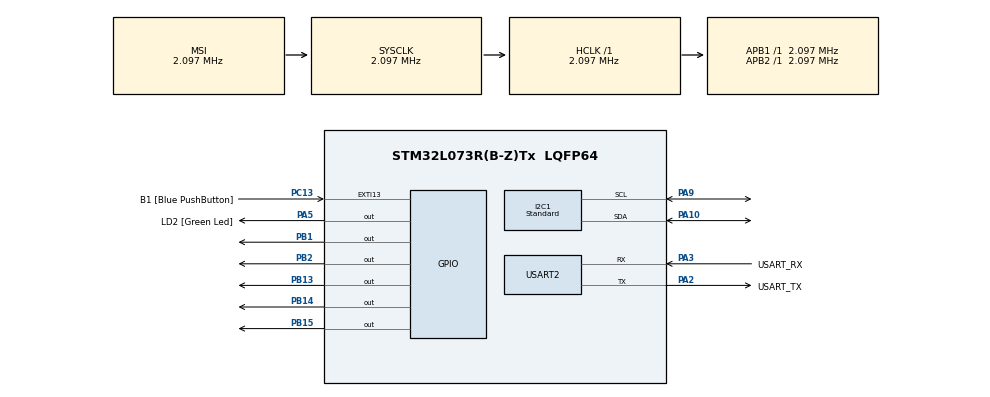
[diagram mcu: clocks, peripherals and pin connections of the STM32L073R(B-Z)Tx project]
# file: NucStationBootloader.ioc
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I2C1.I2C_Speed_Mode=I2C_Standard
I2C1.Timing=0x00000708
Mcu.Family=STM32L0
Mcu.Name=STM32L073R(B-Z)Tx
Mcu.Package=LQFP64
PA10.Mode=I2C
PA10.Signal=I2C1_SDA
PA13.GPIO_Label=TMS
PA13.Mode=Serial_Wire
PA13.Signal=SYS_SWDIO
PA14.GPIO_Label=TCK
PA14.Mode=Serial_Wire
PA14.Signal=SYS_SWCLK
PA2.GPIO_Label=USART_TX
PA2.Mode=Asynchronous
PA2.Signal=USART2_TX
PA3.GPIO_Label=USART_RX
PA3.Mode=Asynchronous
PA3.Signal=USART2_RX
PA5.GPIO_Label=LD2 [Green Led]
PA5.Signal=GPIO_Output
PA9.Mode=I2C
PA9.Signal=I2C1_SCL
PB1.Signal=GPIO_Output
PB13.Signal=GPIO_Output
PB14.Signal=GPIO_Output
PB15.Signal=GPIO_Output
PB2.Signal=GPIO_Output
PC13.GPIO_Label=B1 [Blue PushButton]
PC13.GPIO_ModeDefaultEXTI=GPIO_MODE_IT_FALLING
PC13.Signal=GPXTI13
PC14-OSC32_IN.Mode=LSE-External-Oscillator
PC14-OSC32_IN.Signal=RCC_OSC32_IN
PC15-OSC32_OUT.Mode=LSE-External-Oscillator
PC15-OSC32_OUT.Signal=RCC_OSC32_OUT
PH0-OSC_IN.GPIO_Label=MCO
PH0-OSC_IN.Mode=HSE-External-Clock-Source
PH0-OSC_IN.Signal=RCC_OSC_IN
ProjectManager.HeapSize=0x200
ProjectManager.StackSize=0x400
ProjectManager.TargetToolchain=STM32CubeIDE
RCC.AHBFreq_Value=2097000
RCC.APB1Freq_Value=2097000
RCC.APB1TimFreq_Value=2097000
RCC.APB2Freq_Value=2097000
RCC.APB2TimFreq_Value=2097000
RCC.HSE_VALUE=8000000
RCC.HSI16_VALUE=16000000
RCC.HSI48_VALUE=48000000
RCC.HSI_VALUE=16000000
RCC.MSI_VALUE=2097000
RCC.SYSCLKFreq_VALUE=2097000
RCC.VCOOutputFreq_Value=48000000
USART2.VirtualMode-Asynchronous=VM_ASYNC
board=NUCLEO-L073RZ

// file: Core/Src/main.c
/* USER CODE BEGIN Header */
/**
  ******************************************************************************
  * @file           : main.c
  * @brief          : Main program body
  ******************************************************************************
  * @attention
  *
  * Copyright (c) 2022 STMicroelectronics.
  * All rights reserved.
  *
  * This software is licensed under terms that can be found in the LICENSE file
  * in the root directory of this software component.
  * If no LICENSE file comes with this software, it is provided AS-IS.
  *
  ******************************************************************************
  */
/* USER CODE END Header */
#include "main.h"

/* USER CODE BEGIN Includes */
#include "EEPROMHelper.h"
//#include "GameFlasher.h"

/* USER CODE END Includes */

 I2C_HandleTypeDef hi2c1;

UART_HandleTypeDef huart2;

void SystemClock_Config(void);
static void MX_GPIO_Init(void);
static void MX_USART2_UART_Init(void);
static void MX_I2C1_Init(void);
/* USER CODE BEGIN PFP */
static void LoadFirmware (void);
bool CheckArrayIsEnd(uint8_t *_buffer, uint8_t *compareTo, uint8_t *lastThree);
/* USER CODE END PFP */

/* USER CODE BEGIN 0 */
uint8_t dataWrite[16];

/* USER CODE END 0 */

int main(void)
{

  /* MCU Configuration--------------------------------------------------------*/

  /* Reset of all peripherals, Initializes the Flash interface and the Systick. */
  HAL_Init();

  /* Configure the system clock */
  SystemClock_Config();

  /* Initialize all configured peripherals */
  MX_GPIO_Init();
  MX_USART2_UART_Init();
  MX_I2C1_Init();
  /* USER CODE BEGIN 2 */

  const unsigned char nucStationLogo [] = {
		  	0xff, 0xff, 0xf0, 0x1f, 0xff, 0xff, 0xff, 0xff, 0x82, 0x03, 0xff, 0xff, 0xff, 0xfc, 0x07, 0x87,
			0xff, 0xff, 0xff, 0xf8, 0x0f, 0xcf, 0xff, 0xff, 0xff, 0xe0, 0x0f, 0xcf, 0xef, 0xff, 0xff, 0xc0,
			0x0f, 0xcf, 0xe7, 0xff, 0xff, 0x80, 0x0f, 0x8f, 0xe3, 0xff, 0xff, 0x80, 0x0c, 0x0c, 0x63, 0xff,
			0xff, 0x00, 0x00, 0x00, 0x11, 0xff, 0xfe, 0x00, 0x41, 0xe0, 0x0f, 0xff, 0xfe, 0x07, 0xc7, 0xc7,
			0x8f, 0xff, 0xfc, 0x0f, 0xcf, 0xc7, 0xcf, 0xff, 0xfc, 0x0f, 0xcf, 0xcf, 0xcf, 0xff, 0xf8, 0x0f,
			0xcf, 0xcf, 0xcf, 0xff, 0xf8, 0x0f, 0xc7, 0x8f, 0xcf, 0xff, 0xf8, 0x03, 0xc3, 0x0f, 0x8f, 0xbf,
			0xf8, 0x00, 0x00, 0x10, 0x00, 0x3f, 0xf8, 0x00, 0x10, 0x20, 0x20, 0x3f, 0xf8, 0x00, 0x0f, 0xc3,
			0xe0, 0x3f, 0xf8, 0x00, 0x0f, 0xc7, 0xe0, 0x3f, 0xf8, 0x00, 0x0f, 0xcf, 0xe0, 0x3f, 0xf8, 0x00,
			0x0f, 0xcf, 0xe0, 0x3f, 0xf8, 0x00, 0x0f, 0xc7, 0xc0, 0x3f, 0xf8, 0x00, 0x07, 0x83, 0x80, 0x3f,
			0xf8, 0x00, 0x00, 0x00, 0x00, 0x3f, 0xf8, 0x2e, 0x20, 0x00, 0x00, 0x3f, 0xfc, 0x44, 0xa0, 0x00,
			0x00, 0x7f, 0xfc, 0x24, 0xa4, 0x00, 0x00, 0x7f, 0xfe, 0x54, 0x60, 0x00, 0x00, 0xff, 0xfe, 0x00,
			0x00, 0x00, 0x00, 0xff, 0xff, 0x00, 0x00, 0x00, 0x01, 0xff, 0xff, 0x80, 0xa0, 0x00, 0x03, 0xff,
			0xff, 0xc0, 0xe1, 0x9a, 0x03, 0xff, 0xff, 0xe0, 0xa4, 0x49, 0x0f, 0xff, 0xff, 0xf0, 0xa4, 0xc1,
			0x1f, 0xff, 0xff, 0xf8, 0x00, 0x00, 0x3f, 0xff, 0xff, 0xfe, 0x00, 0x00, 0xff, 0xff, 0xff, 0xff,
			0xc0, 0x07, 0xff, 0xff, 0xff, 0xff, 0xff, 0xff, 0xff, 0xff, 0xff, 0xff, 0xff, 0xff, 0xff, 0xff,
			0xdd, 0xff, 0xf1, 0xbf, 0xb7, 0xff, 0xcd, 0xff, 0xee, 0xbf, 0xbf, 0xff, 0xcd, 0xb4, 0x6e, 0x11,
			0x14, 0x43, 0xd5, 0xb3, 0x63, 0xad, 0xb3, 0x9d, 0xd5, 0xb3, 0xfc, 0xbd, 0xb3, 0x9d, 0xd9, 0xb3,
			0xee, 0xa1, 0xb3, 0x9d, 0xd9, 0xb3, 0x6e, 0xad, 0xb3, 0x9d, 0xdd, 0x84, 0xf1, 0x80, 0x94, 0x5d
  };

  printf("Starting NucStation\r\n");
  HAL_GPIO_WritePin(GPIOA, GPIO_PIN_5, GPIO_PIN_SET); // to show we are in bootloader mode

  LCD_setRST(GPIOB, GPIO_PIN_13);
  LCD_setCE(GPIOB, GPIO_PIN_14);
  LCD_setDC(GPIOB, GPIO_PIN_15);
  LCD_setDIN(GPIOB, GPIO_PIN_1);
  LCD_setCLK(GPIOB, GPIO_PIN_2);
  LCD_init();

  LCD_draw(nucStationLogo, 18, 0, 48, 48);
  LCD_refreshScr();

  HAL_Delay(100);

  bool foundI2CFlag = false;
  uint8_t ret;

  printf("Scanning \r\n");
  for(uint8_t i = 1; i < 128; i++)
  {
      ret = HAL_I2C_IsDeviceReady(&hi2c1, (uint16_t)(i<<1), 3, 5);
      if (ret != HAL_OK) /* No ACK Received At That Address */
      {

    	 // printf("Device not found in 0x%X", i);
      }
      else if(ret == HAL_OK)
      {
          printf("Device found in 0x%X  \r\n", i);
          foundI2CFlag = true;
      }
  }
  printf("Scanning fin \r\n");

  if(foundI2CFlag)
  {
	  LCD_print("L", 0, 0);

	  char percentLoad[5] = {0};

	  uint8_t buffer[64] = {0};
	  uint8_t lastThree[3]  = {0, 0, 0};
	  uint8_t endCheckArray[3] = {'E', 'G', 'E'};

	  uint8_t wordCounter = 0;
	  uint8_t lastFour[4] = {0};
	  uint16_t sector = 0;
	  uint32_t lastFourWord[1] = {0};

	  uint8_t j = 0;

	  for(int i = 0; i < PAGE_NUM; i++)
	  {
		  EEPROM_Read(i, 0, buffer, 64);

		  for(j = 0; j < 64; j++)
		  {
			  lastFour[wordCounter] = buffer[j];
			  wordCounter++;
			  if(wordCounter == 4)
			  {
				  //FLASH
				  lastFourWord[0] = lastFour[0] | (lastFour[1] << 8) | (lastFour[2] << 16) | (lastFour[3] << 24);
				  wordCounter = 0;

				  if(sector == 0) FlashTheGame(lastFourWord, sector, true);
				  else FlashTheGame(lastFourWord, sector, false);

				  sector++;
				  itoa((int) i, percentLoad, 10);
				  LCD_print(percentLoad, 0, 0);
			  }
		  }

		  if(CheckArrayIsEnd(buffer, endCheckArray, lastThree))
		  {
			  printf("End on page %d \r\n", i);
			  break;
		  }
	  }
  }
  else
  {
	  printf("Reloading \r\n");
	  LCD_print("R", 0, 0);
	  HAL_Delay(500);
  }

  LoadFirmware();
  /* USER CODE END 2 */

  /* Infinite loop */
  while (1)
  {

  }
}

void SystemClock_Config(void)
{
  RCC_OscInitTypeDef RCC_OscInitStruct = {0};
  RCC_ClkInitTypeDef RCC_ClkInitStruct = {0};
  RCC_PeriphCLKInitTypeDef PeriphClkInit = {0};

  /** Configure the main internal regulator output voltage
  */
  __HAL_PWR_VOLTAGESCALING_CONFIG(PWR_REGULATOR_VOLTAGE_SCALE1);

  /** Initializes the RCC Oscillators according to the specified parameters
  * in the RCC_OscInitTypeDef structure.
  */
  RCC_OscInitStruct.OscillatorType = RCC_OSCILLATORTYPE_MSI;
  RCC_OscInitStruct.MSIState = RCC_MSI_ON;
  RCC_OscInitStruct.MSICalibrationValue = 0;
  RCC_OscInitStruct.MSIClockRange = RCC_MSIRANGE_5;
  RCC_OscInitStruct.PLL.PLLState = RCC_PLL_NONE;
  if (HAL_RCC_OscConfig(&RCC_OscInitStruct) != HAL_OK)
  {
    Error_Handler();
  }

  /** Initializes the CPU, AHB and APB buses clocks
  */
  RCC_ClkInitStruct.ClockType = RCC_CLOCKTYPE_HCLK|RCC_CLOCKTYPE_SYSCLK
                              |RCC_CLOCKTYPE_PCLK1|RCC_CLOCKTYPE_PCLK2;
  RCC_ClkInitStruct.SYSCLKSource = RCC_SYSCLKSOURCE_MSI;
  RCC_ClkInitStruct.AHBCLKDivider = RCC_SYSCLK_DIV1;
  RCC_ClkInitStruct.APB1CLKDivider = RCC_HCLK_DIV1;
  RCC_ClkInitStruct.APB2CLKDivider = RCC_HCLK_DIV1;

  if (HAL_RCC_ClockConfig(&RCC_ClkInitStruct, FLASH_LATENCY_0) != HAL_OK)
  {
    Error_Handler();
  }
  PeriphClkInit.PeriphClockSelection = RCC_PERIPHCLK_USART2|RCC_PERIPHCLK_I2C1;
  PeriphClkInit.Usart2ClockSelection = RCC_USART2CLKSOURCE_PCLK1;
  PeriphClkInit.I2c1ClockSelection = RCC_I2C1CLKSOURCE_PCLK1;
  if (HAL_RCCEx_PeriphCLKConfig(&PeriphClkInit) != HAL_OK)
  {
    Error_Handler();
  }
}

static void MX_I2C1_Init(void)
{

  hi2c1.Instance = I2C1;
  hi2c1.Init.Timing = 0x00000708;
  hi2c1.Init.OwnAddress1 = 0;
  hi2c1.Init.AddressingMode = I2C_ADDRESSINGMODE_7BIT;
  hi2c1.Init.DualAddressMode = I2C_DUALADDRESS_DISABLE;
  hi2c1.Init.OwnAddress2 = 0;
  hi2c1.Init.OwnAddress2Masks = I2C_OA2_NOMASK;
  hi2c1.Init.GeneralCallMode = I2C_GENERALCALL_DISABLE;
  hi2c1.Init.NoStretchMode = I2C_NOSTRETCH_DISABLE;
  if (HAL_I2C_Init(&hi2c1) != HAL_OK)
  {
    Error_Handler();
  }

  /** Configure Analogue filter
  */
  if (HAL_I2CEx_ConfigAnalogFilter(&hi2c1, I2C_ANALOGFILTER_ENABLE) != HAL_OK)
  {
    Error_Handler();
  }

  /** Configure Digital filter
  */
  if (HAL_I2CEx_ConfigDigitalFilter(&hi2c1, 0) != HAL_OK)
  {
    Error_Handler();
  }

}

static void MX_USART2_UART_Init(void)
{

  huart2.Instance = USART2;
  huart2.Init.BaudRate = 115200;
  huart2.Init.WordLength = UART_WORDLENGTH_8B;
  huart2.Init.StopBits = UART_STOPBITS_1;
  huart2.Init.Parity = UART_PARITY_NONE;
  huart2.Init.Mode = UART_MODE_TX_RX;
  huart2.Init.HwFlowCtl = UART_HWCONTROL_NONE;
  huart2.Init.OverSampling = UART_OVERSAMPLING_16;
  huart2.Init.OneBitSampling = UART_ONE_BIT_SAMPLE_DISABLE;
  huart2.AdvancedInit.AdvFeatureInit = UART_ADVFEATURE_NO_INIT;
  if (HAL_UART_Init(&huart2) != HAL_OK)
  {
    Error_Handler();
  }

}

static void MX_GPIO_Init(void)
{
  GPIO_InitTypeDef GPIO_InitStruct = {0};

  /* GPIO Ports Clock Enable */
  __HAL_RCC_GPIOC_CLK_ENABLE();
  __HAL_RCC_GPIOH_CLK_ENABLE();
  __HAL_RCC_GPIOA_CLK_ENABLE();
  __HAL_RCC_GPIOB_CLK_ENABLE();

  /*Configure GPIO pin Output Level */
  HAL_GPIO_WritePin(LD2_GPIO_Port, LD2_Pin, GPIO_PIN_RESET);

  /*Configure GPIO pin Output Level */
  HAL_GPIO_WritePin(GPIOB, GPIO_PIN_1|GPIO_PIN_2|GPIO_PIN_13|GPIO_PIN_14
                          |GPIO_PIN_15, GPIO_PIN_RESET);

  /*Configure GPIO pin : B1_Pin */
  GPIO_InitStruct.Pin = B1_Pin;
  GPIO_InitStruct.Mode = GPIO_MODE_IT_FALLING;
  GPIO_InitStruct.Pull = GPIO_NOPULL;
  HAL_GPIO_Init(B1_GPIO_Port, &GPIO_InitStruct);

  /*Configure GPIO pin : LD2_Pin */
  GPIO_InitStruct.Pin = LD2_Pin;
  GPIO_InitStruct.Mode = GPIO_MODE_OUTPUT_PP;
  GPIO_InitStruct.Pull = GPIO_NOPULL;
  GPIO_InitStruct.Speed = GPIO_SPEED_FREQ_LOW;
  HAL_GPIO_Init(LD2_GPIO_Port, &GPIO_InitStruct);

  /*Configure GPIO pins : PB1 PB2 PB13 PB14
                           PB15 */
  GPIO_InitStruct.Pin = GPIO_PIN_1|GPIO_PIN_2|GPIO_PIN_13|GPIO_PIN_14
                          |GPIO_PIN_15;
  GPIO_InitStruct.Mode = GPIO_MODE_OUTPUT_PP;
  GPIO_InitStruct.Pull = GPIO_NOPULL;
  GPIO_InitStruct.Speed = GPIO_SPEED_FREQ_LOW;
  HAL_GPIO_Init(GPIOB, &GPIO_InitStruct);

}

/* USER CODE BEGIN 4 */
/**
  * @brief Print the characters to UART (printf).
  * @retval int
  */
#ifdef __GNUC__
  /* With GCC, small printf (option LD Linker->Libraries->Small printf
     set to 'Yes') calls __io_putchar() */
int __io_putchar(int ch)
#else
int fputc(int ch, FILE *f)
#endif /* __GNUC__ */
{
  /* Place your implementation of fputc here */
  /* e.g. write a character to the UART3 and Loop until the end of transmission */
  HAL_UART_Transmit(&huart2, (uint8_t *)&ch, 1, HAL_MAX_DELAY);
  return ch;
}

static void LoadFirmware ( void )
{
	printf("Loading firmware... \r\n");

	void (*app_reset_handler)(void) = (void*)(*((volatile uint32_t*) (0x08008000 + 4U)));
	//__set_MSP(*(volatile uint32_t*) 0x08007FFF);
	// Turn OFF the Green Led to tell the user that Bootloader is not running
	HAL_GPIO_WritePin(GPIOA, GPIO_PIN_5, GPIO_PIN_RESET );    //Green LED OFF
	printf("Booting game... \r\n");
	app_reset_handler();    //call the app reset handler
}

bool CheckArrayIsEnd(uint8_t *_buffer, uint8_t *compareTo, uint8_t *lastThree)
{
	int x = 0;
	int y = 0;

	bool equalArrays = false;

	for(x = 0; x < PAGE_SIZE; x++)
	{
	  	lastThree[0] = lastThree[1];
	  	lastThree[1] = lastThree[2];
	  	lastThree[2] = _buffer[x];

		equalArrays = true;
		for (y = 0; y < 3; y++)
		{
		  if( lastThree[y] != compareTo[y] )
		  {
			  equalArrays = false;
				break;
		  }
		}

		if(equalArrays) break;
	}

	return equalArrays;
}
/* USER CODE END 4 */

void Error_Handler(void)
{
  __disable_irq();
  while (1)
  {
  }
}
